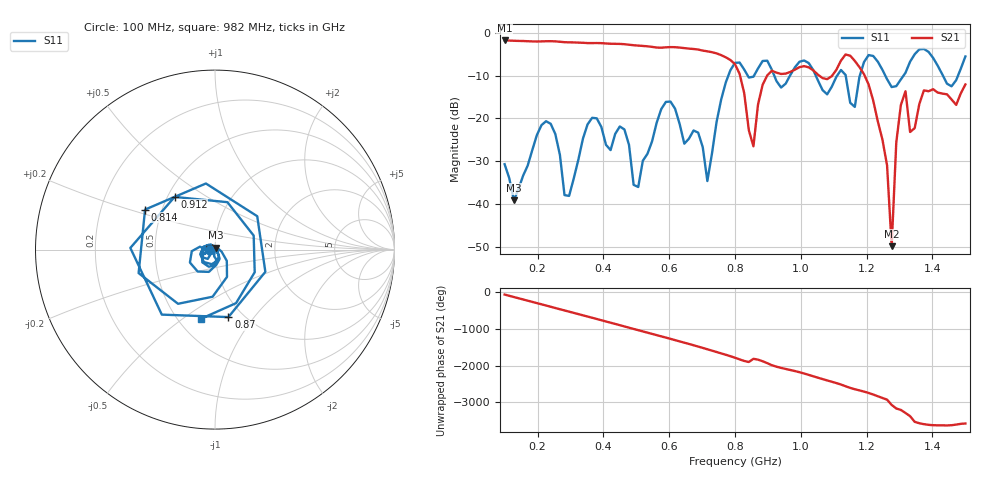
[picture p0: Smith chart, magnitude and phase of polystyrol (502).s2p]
! NanoVNA-App
! Date: 2025-09-25 15:33:47
! Start: 100MHz Stop: 1,5GHz Points: 101
! S-Parameter data: F S11 S21 S12 S22
# Hz S RI R 50
!  Frequency  S11_Real  S11_Imag  S21_Real  S21_Imag  S12_Real  S12_Imag  S22_Real  S22_Imag
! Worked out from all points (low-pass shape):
!   101 points, 100 MHz to 1.5 GHz, reference 50 ohm
!   highest |S21| = -1.80 dB at 100 MHz (marker M1); lowest = -49.8 dB at 1.276 GHz (marker M2)
!   |S21| within 3 dB of the highest: start of sweep to 743.3 MHz
!   lowest |S11| = -39.1 dB at 128 MHz (marker M3), VSWR 1.02, Z = 50.3 + j1.06 ohm
!   |S11| at or under -10 dB: start of sweep to 779.8 MHz; 1.045 GHz to 1.111 GHz (65.13 MHz wide, 6.04 % of centre); 1.257 GHz to 1.312 GHz (55.5 MHz wide, 4.32 % of centre) (the widest 3 of 7)
!   S12 and S22 are empty: the file has one direction only
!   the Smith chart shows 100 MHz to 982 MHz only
!   S11 on the Smith chart (normalised r, x): 100 MHz: 0.94, -0.01; 814 MHz: 0.40, +0.23; 870 MHz: 0.86, -0.75; 912 MHz: 0.54, +0.37; 982 MHz: 0.64, -0.59
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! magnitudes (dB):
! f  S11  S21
! 100 MHz  -30.7  -1.8
! 128 MHz  -39.1  -1.9
! 212 MHz  -21.6  -2.0
! 282 MHz  -37.9  -2.2
! 338 MHz  -24.7  -2.3
! 506 MHz  -36.0  -3.0
! 576 MHz  -17.8  -3.5
! 716 MHz  -34.6  -4.3
! 800 MHz  -7.0  -7.3
! 814 MHz  -7.0  -9.6
! 856 MHz  -10.3  -26.5
! 870 MHz  -8.3  -16.7
! 912 MHz  -8.6  -8.9
! 982 MHz  -8.1  -8.6
! 1.038 GHz  -8.7  -8.8
! 1.164 GHz  -17.3  -6.6
! 1.206 GHz  -5.2  -12.1
! 1.262 GHz  -10.8  -31.0
! 1.276 GHz  -12.7  -49.8
! 1.29 GHz  -12.5  -25.6
! 1.318 GHz  -9.3  -13.7
! 1.5 GHz  -5.5  -12.1
